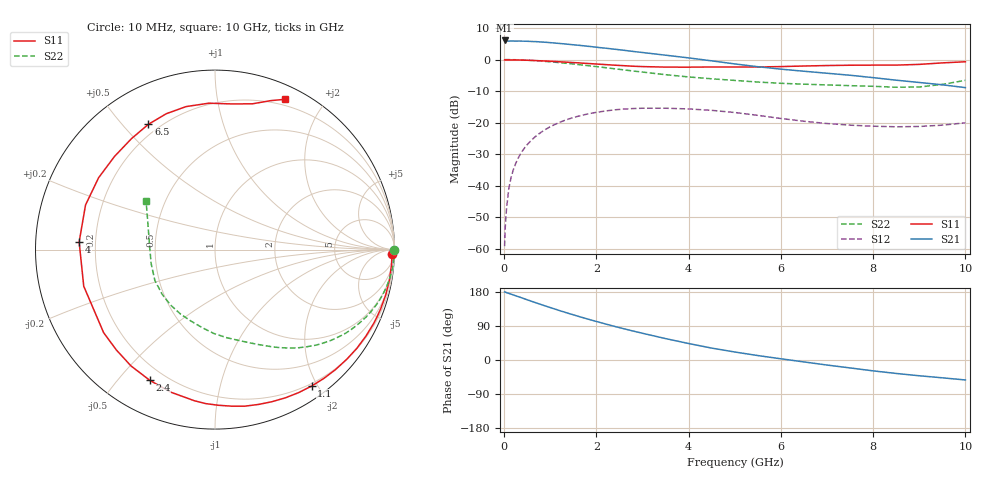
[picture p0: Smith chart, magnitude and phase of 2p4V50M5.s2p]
! (c) 2009  Infineon Technologies AG, Munich
! Infineon Technologies  Discrete & RF Semiconductors
! BFP420
! VCE =  4.5 V,  IC =  0.5 mA
! Common Emitter S-Parameters:  Nov 2009
# GHz  S  MA  R  50
!  f  S11  S21  S12  S22
! GHz  MAG  ANG  MAG  ANG  MAG  ANG  MAG  ANG
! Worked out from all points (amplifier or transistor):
!   46 points, 10 MHz to 10 GHz, reference 50 ohm
!   highest |S21| = 6.1 dB at 10 MHz (marker M1)
!   |S21| within 3 dB of that: start of sweep to 2.529 GHz
!   unconditionally stable (mu >= 1): 4.509 GHz to end of sweep
!   at 300 MHz: K = 0.03, MSG = 18.6 dB, |S12| = -31.4 dB
!   at 1.7 GHz: K = 0.24, MSG = 11.0 dB, |S12| = -17.6 dB
!   at 10 GHz: K = 1.56, MAG = 1.2 dB, |S12| = -20.1 dB
!   lowest NFmin = 0.68 dB at 900 MHz
!   S11 on the Smith chart (normalised r, x): 10 MHz: 33, -65; 1.1 GHz: 0.17, -1.92; 2.4 GHz: 0.14, -0.61; 4 GHz: 0.14, +0.03; 6.5 GHz: 0.16, +0.59; 10 GHz: 0.14, +1.56
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0.01  0.9878 -1.4  2.009 179.5  0.0011 41.0  0.9991 0.0
0.02  0.9865 -0.9  1.943 179.6  0.002 76.7  0.9977 -0.4
0.05  0.9864 -2.5  1.954 177.8  0.0042 86.4  0.9979 -1.2
0.1  0.9872 -5.0  1.962 175.9  0.0089 85.9  0.9978 -2.5
0.15  0.9859 -7.4  1.968 173.8  0.0135 84.5  0.9965 -3.8
0.25  0.9842 -12.3  1.961 169.4  0.0225 82.0  0.9933 -6.3
0.4  0.9802 -19.8  1.958 163.2  0.0359 77.6  0.9845 -10.0
0.6  0.9692 -29.8  1.934 154.7  0.0535 71.6  0.9682 -14.9
0.9  0.9476 -44.8  1.88 142.3  0.0783 62.3  0.9343 -21.9
1.1  0.9315 -54.7  1.827 134.5  0.0936 56.4  0.9078 -26.2
1.4  0.9047 -69.6  1.745 122.8  0.1142 47.4  0.8642 -32.6
1.7  0.8772 -83.9  1.661 112.0  0.1317 38.9  0.8185 -38.3
2.4  0.8139 -116.5  1.458 88.5  0.1597 20.3  0.714 -50.1
3  0.7741 -143.3  1.294 70.5  0.1693 5.9  0.6334 -59.0
3.5  0.7592 -164.4  1.173 56.5  0.1693 -4.7  0.5757 -66.3
4  0.7581 176.8  1.063 43.5  0.1648 -13.7  0.5302 -73.9
4.5  0.7629 161.0  0.954 31.4  0.1566 -21.9  0.4955 -82.3
5.5  0.7635 137.1  0.77 11.7  0.1305 -33.9  0.4401 -99.5
6.5  0.7905 118.0  0.653 -5.1  0.1052 -37.4  0.4073 -118.1
7  0.8043 109.7  0.607 -13.3  0.0968 -36.3  0.396 -128.3
8.5  0.8171 83.3  0.471 -35.5  0.0859 -27.9  0.3641 -167.8
10  0.923 65.1  0.359 -52.7  0.0994 -17.7  0.4686 145.0
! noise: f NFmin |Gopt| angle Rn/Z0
0.9  0.68  0.78  35  0.65
1.8  1.42  0.6  75  0.5
2.4  1.57  0.58  98  0.37
3  2.1  0.58  128  0.24
4  2.49  0.57  177  0.09
